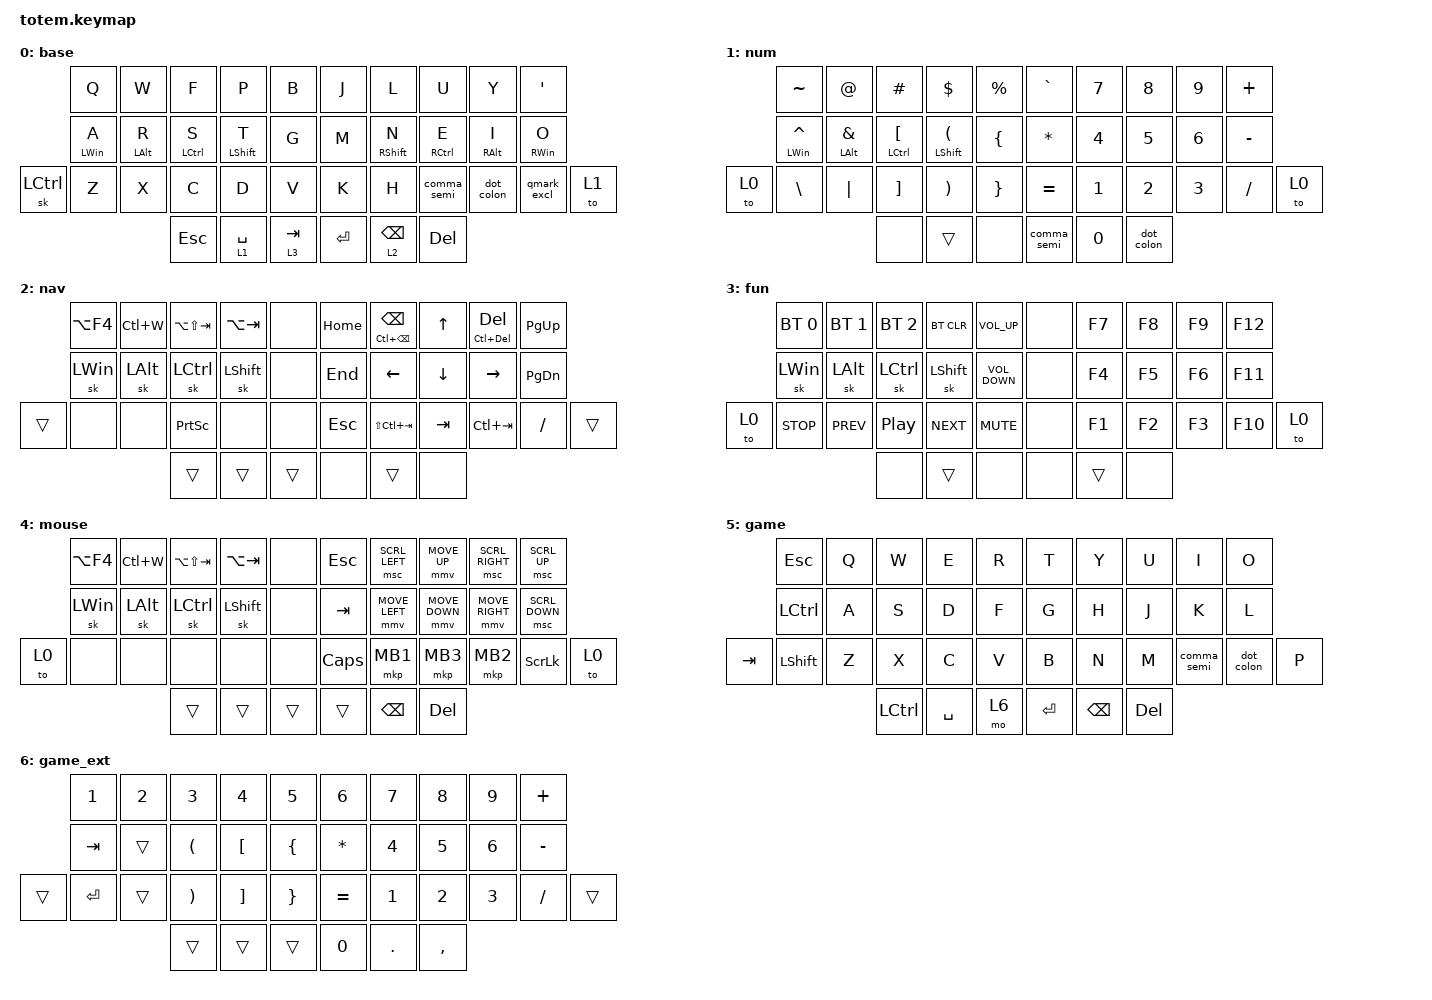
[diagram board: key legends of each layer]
#include <behaviors.dtsi>
#include <dt-bindings/zmk/bt.h>
#include <dt-bindings/zmk/keys.h>
#include <dt-bindings/zmk/pointing.h>

#define BASE 0
#define NUM  1
#define NAV  2
#define FUN  3
#define MOUSE 4
#define GAME 5
#define GAME_EXT 6

/ {
};

/ {
    behaviors {
        lt_fast: layer_tap_fast {
            compatible = "zmk,behavior-hold-tap";
            label = "LAYER_TAP_FAST";
            #binding-cells = <2>;
            flavor = "hold-preferred";  // 优先判定为按住（切层）
            tapping-term-ms = <200>;    // 缩短判定时间，让切层更灵敏
            quick-tap-ms = <0>;         // 禁用快速连发空格，防止选词干扰
            bindings = <&mo>, <&kp>;
        };

        // --- 左手通用 Mods (Ctrl, Alt, Win) ---
        // 保持 280ms 触发，并带有 prior-idle 防止打字误触

        hml_mods: hml_mods {
            compatible = "zmk,behavior-hold-tap";
            label = "HML_MODS";
            #binding-cells = <2>;
            flavor = "balanced";
            tapping-term-ms = <280>;
            quick-tap-ms = <175>;
            require-prior-idle-ms = <100>; // 特意加长，确保打字模式极其稳定，避免误触
            bindings = <&kp>, <&kp>;

            hold-trigger-key-positions = <5 6 7 8 9 15 16 17 18 19 26 27 28 29 30 31 35 36 37>;
            hold-trigger-on-release;
        };

        // --- 左手 Shift 专用 ---
        // 缩短至 130ms，移除 prior-idle，确保大写字母即按即出

        hml_shift: hml_shift {
            compatible = "zmk,behavior-hold-tap";
            label = "HML_SHIFT";
            #binding-cells = <2>;
            flavor = "balanced";
            tapping-term-ms = <150>; // 极速触发
            quick-tap-ms = <175>;

            // 移除 require-prior-idle，解决你担心的大写字母迟滞问题

            bindings = <&kp>, <&kp>;

            hold-trigger-key-positions = <5 6 7 8 9 15 16 17 18 19 26 27 28 29 30 31 35 36 37>;
            hold-trigger-on-release;
        };

        // --- 右手通用 Mods ---

        hmr_mods: hmr_mods {
            compatible = "zmk,behavior-hold-tap";
            label = "HMR_MODS";
            #binding-cells = <2>;
            flavor = "balanced";
            tapping-term-ms = <280>;
            quick-tap-ms = <175>;
            require-prior-idle-ms = <100>;
            bindings = <&kp>, <&kp>;

            hold-trigger-key-positions = <0 1 2 3 4 10 11 12 13 14 20 21 22 23 24 25 32 33 34>;
            hold-trigger-on-release;
        };

        // --- 右手 Shift 专用 ---

        hmr_shift: hmr_shift {
            compatible = "zmk,behavior-hold-tap";
            label = "HMR_SHIFT";
            #binding-cells = <2>;
            flavor = "balanced";
            tapping-term-ms = <150>;
            quick-tap-ms = <175>;
            bindings = <&kp>, <&kp>;

            hold-trigger-key-positions = <0 1 2 3 4 10 11 12 13 14 20 21 22 23 24 25 32 33 34>;
            hold-trigger-on-release;
        };

        /* 1. 逗号与分号: 单击 , | Shift+单击 ; */

        comma_semi: comma_mod_morph {
            compatible = "zmk,behavior-mod-morph";
            label = "COMMA_SEMI";
            #binding-cells = <0>;
            bindings = <&kp COMMA>, <&kp SEMI>;

            mods = <(MOD_LSFT|MOD_RSFT)>;
        };

        /* 2. 句号与冒号: 单击 . | Shift+单击 : */

        dot_colon: dot_mod_morph {
            compatible = "zmk,behavior-mod-morph";
            label = "DOT_COLON";
            #binding-cells = <0>;
            bindings = <&kp DOT>, <&kp COLON>;

            mods = <(MOD_LSFT|MOD_RSFT)>;
        };

        /* 3. 问号与感叹号: 单击 ? | Shift+单击 ! */
        /* 注意：问号在基础层通常是带有 Shift 的，这里假设你想要一个一键触发问号的逻辑 */

        qmark_excl: qmark_mod_morph {
            compatible = "zmk,behavior-mod-morph";
            label = "QMARK_EXCL";
            #binding-cells = <0>;
            bindings = <&kp QUESTION>, <&kp EXCL>;

            mods = <(MOD_LSFT|MOD_RSFT)>;
        };
    };
};

/ {
    combos {
        compatible = "zmk,combos";

        pgup {
            bindings = <&kp PG_UP>;
            key-positions = <8 9>;
            layers = <0 1 5 5>;
        };

        pgdn {
            bindings = <&kp PAGE_DOWN>;
            key-positions = <18 19>;
            layers = <0 1 5 5>;
        };

        enter {
            bindings = <&kp ENTER>;
            key-positions = <30 29>;
        };

        home {
            bindings = <&kp HOME>;
            key-positions = <6 5>;
        };

        end {
            bindings = <&kp END>;
            key-positions = <15 16>;
        };

        up {
            bindings = <&kp UP>;
            key-positions = <7 17>;
            layers = <0 1 5 5>;
        };

        down {
            bindings = <&kp DOWN>;
            key-positions = <17 28>;
            layers = <0 1 5 5>;
        };

        left {
            bindings = <&kp LEFT>;
            key-positions = <17 16>;
            layers = <0 1 5 5>;
        };

        right {
            bindings = <&kp RIGHT>;
            key-positions = <17 18>;
            layers = <0 1 5 5>;
        };

        copy {
            bindings = <&kp LC(C)>;
            key-positions = <22 23>;
            layers = <0 1 4 5 5>;
        };

        paste {
            bindings = <&kp LC(V)>;
            key-positions = <23 24>;
            layers = <0 1 4 5 5>;
        };

        cut {
            bindings = <&kp LC(X)>;
            key-positions = <22 24>;
            layers = <0 1 4 5 5>;
        };

        mouse {
            bindings = <&tog 4>;
            key-positions = <15 19>;
        };

        numpad {
            bindings = <&tog 1>;
            key-positions = <15 16>;
        };

        game {
            bindings = <&tog 5>;
            key-positions = <14 15>;
        };

        undo {
            bindings = <&kp LC(Z)>;
            key-positions = <21 22>;
            layers = <0 1 4 5 3>;
        };

        backspace {
            bindings = <&kp BACKSPACE>;
            key-positions = <6 7>;
        };

        del {
            bindings = <&kp DEL>;
            key-positions = <7 8>;
        };

        capsw {
            bindings = <&caps_word>;
            key-positions = <12 13>;
        };
    };

    keymap {
        compatible = "zmk,keymap";

        base {
            label = "base";
            bindings = <
           &kp Q             &kp W             &kp F              &kp P               &kp B             &kp J      &kp L                 &kp U              &kp Y             &kp SINGLE_QUOTE
           &hml_mods LWIN A  &hml_mods LALT R  &hml_mods LCTRL S  &hml_shift LSHFT T  &kp G             &kp M      &hmr_shift RSHFT N    &hmr_mods RCTRL E  &hmr_mods RALT I  &hmr_mods RWIN O
&sk LCTRL  &kp Z             &kp X             &kp C              &kp D               &kp V             &kp K      &kp H                 &comma_semi        &dot_colon        &qmark_excl       &to 1
                                               &kp ESC            &lt_fast 1 SPACE    &lt_fast 3 TAB    &kp ENTER  &lt_fast 2 BACKSPACE  &kp DEL
            >;
        };

        num {
            label = "num";
            bindings = <
       &kp TILDE             &kp AT               &kp POUND             &kp DLLR              &kp PRCNT    &kp GRAVE    &kp N7  &kp N8      &kp N9  &kp PLUS
       &hml_mods LWIN CARET  &hml_mods LALT AMPS  &hml_mods LCTRL LBKT  &hml_mods LSHFT LPAR  &kp LBRC     &kp STAR     &kp N4  &kp N5      &kp N6  &kp MINUS
&to 0  &kp BSLH              &kp PIPE             &kp RBKT              &kp RPAR              &kp RBRC     &kp EQUAL    &kp N1  &kp N2      &kp N3  &kp FSLH   &to 0
                                                  &none                 &trans                &none        &comma_semi  &kp N0  &dot_colon
            >;
        };

        nav {
            bindings = <
        &kp LA(F4)  &kp LC(W)  &kp LA(LS(TAB))  &kp LA(TAB)  &none     &kp HOME  &mt LC(BACKSPACE) BACKSPACE  &kp UP    &mt LC(DEL) DEL  &kp PG_UP
        &sk LWIN    &sk LALT   &sk LCTRL        &sk LSHFT    &none     &kp END   &kp LEFT                     &kp DOWN  &kp RIGHT        &kp PG_DN
&trans  &none       &none      &kp PRINTSCREEN  &none        &none     &kp ESC   &kp LS(LC(TAB))              &kp TAB   &kp LC(TAB)      &kp FSLH   &trans
                               &trans           &trans       &trans    &none     &trans                       &none
            >;

            label = "nav";
        };

        fun {
            label = "fun";
            bindings = <
       &bt BT_SEL 0  &bt BT_SEL 1  &bt BT_SEL 2  &bt BT_CLR  &kp C_VOLUME_UP      &none  &kp F7  &kp F8  &kp F9  &kp F12
       &sk LWIN      &sk LALT      &sk LCTRL     &sk LSHFT   &kp C_VOLUME_DOWN    &none  &kp F4  &kp F5  &kp F6  &kp F11
&to 0  &kp C_STOP    &kp C_PREV    &kp C_PP      &kp C_NEXT  &kp C_MUTE           &none  &kp F1  &kp F2  &kp F3  &kp F10  &to 0
                                   &none         &trans      &none                &none  &trans  &none
            >;
        };

        mouse {
            label = "mouse";
            bindings = <
       &kp LA(F4)  &kp LC(W)  &kp LA(LS(TAB))  &kp LA(TAB)  &none     &kp ESC   &msc SCRL_LEFT  &mmv MOVE_UP    &msc SCRL_RIGHT  &msc SCRL_UP
       &sk LWIN    &sk LALT   &sk LCTRL        &sk LSHFT    &none     &kp TAB   &mmv MOVE_LEFT  &mmv MOVE_DOWN  &mmv MOVE_RIGHT  &msc SCRL_DOWN
&to 0  &none       &none      &none            &none        &none     &kp CAPS  &mkp MB1        &mkp MB3        &mkp MB2         &kp SCROLLLOCK  &to 0
                              &trans           &trans       &trans    &trans    &kp BACKSPACE   &kp DEL
            >;
        };

        game {
            bindings = <
         &kp ESC    &kp Q  &kp W      &kp E      &kp R    &kp T      &kp Y     &kp U       &kp I        &kp O
         &kp LCTRL  &kp A  &kp S      &kp D      &kp F    &kp G      &kp H     &kp J       &kp K        &kp L
&kp TAB  &kp LSHFT  &kp Z  &kp X      &kp C      &kp V    &kp B      &kp N     &kp M       &comma_semi  &dot_colon  &kp P
                           &kp LCTRL  &kp SPACE  &mo 6    &kp ENTER  &kp BSPC  &kp DELETE
            >;

            label = "game";
        };

        game_ext {
            bindings = <
        &kp N1     &kp N2  &kp N3    &kp N4    &kp N5      &kp N6     &kp N7   &kp N8     &kp N9  &kp PLUS
        &kp TAB    &trans  &kp LPAR  &kp LBKT  &kp LBRC    &kp STAR   &kp N4   &kp N5     &kp N6  &kp MINUS
&trans  &kp ENTER  &trans  &kp RPAR  &kp RBKT  &kp RBRC    &kp EQUAL  &kp N1   &kp N2     &kp N3  &kp FSLH   &trans
                           &trans    &trans    &trans      &kp N0     &kp DOT  &kp COMMA
            >;

            label = "game_ext";
        };
    };

    conditional_layers { compatible = "zmk,conditional-layers"; };
};
